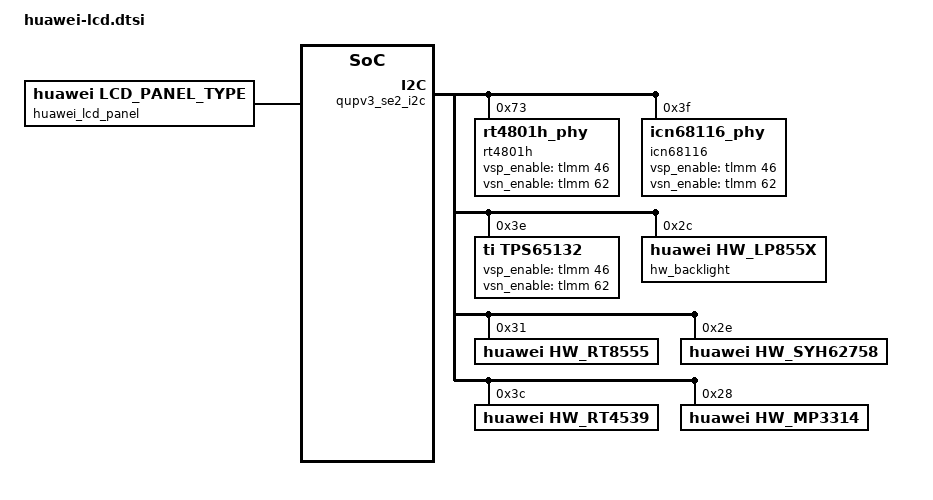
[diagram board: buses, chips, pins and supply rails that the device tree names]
#include "../../../lcdkit3.0/bah4/devkit_lcd_kit.dtsi"
&huawei_lcd_panel {
	compatible = "huawei,lcd_panel_type";
	/* auto_key_info @ name: product_id type: uint32 default: 0 */
	product_id = <9000>;
	detect_type = <2>;
	/* auto_key_info @ name: gpio_id[2] type: int default: 0 */
	gpio_id = <14 6>;
	/* auto_key_info @ name: bias_ctrl_type type: uint32 default: 0 */
	bias_ctrl_type = <3>;
	/* auto_key_info @ name: vsp_gpio_id type: uint32 default: 0 */
	vsp_gpio_id = <46>;
	/* auto_key_info @ name: vsn_gpio_id type: uint32 default: 0 */
	vsn_gpio_id = <62>;
	/* auto_key_info @ name: tp_reset_gpio type: uint32 default: 0 */
	tp_reset_gpio = <105>;
	/* auto_key_info @ name: bl_en_gpio type: uint32 default: 0 */
	bl_en_gpio = <11>;
	support_lcd_type = "LCD_KIT";
};

&sde_dsi {
	vddio-supply = <&L12C>;
	vdd-supply = <&L13C>;
	ddic-supply = <&L16B>;
	qcom,dsi-default-panel = <&dsi_bah4_auo_otm1901a_5p2_1080p_video_default>;
};

&qupv3_se2_i2c {
	status = "ok";

	rt4801h@73 {
		compatible = "rt4801h_phy";
		reg = <0x73>;
		gpio_vsp_enable = <&tlmm 46 0x00>;
		gpio_vsn_enable = <&tlmm 62 0x00>;
	};

	icn68116@3f {
		compatible = "icn68116_phy";
		reg = <0x3f>;
		gpio_vsp_enable = <&tlmm 46 0x00>;
		gpio_vsn_enable = <&tlmm 62 0x00>;
	};

	tps65132@3e {
		compatible = "ti,tps65132";
		reg = <0x3e>;
		gpio_vsp_enable = <&tlmm 46 0x00>;
		gpio_vsn_enable = <&tlmm 62 0x00>;
	};

	hw_backlight@2c {
		status = "ok";
		compatible = "huawei,hw_lp855x";
		reg = <0x2c>;
		bl_type_string = "8556";

		hw_lp855x,hw_enable = <1>;
		hw_lp855x,hw_en_gpio = <11>;
		hw_lp855x,gpio_offset = <336>;
		hw_lp855x,before_bl_on_mdelay = <45>;
		hw_lp855x,bl_on_mdelay = <10>;
		hw_lp855x,hw_en_pull_low = <1>;
		hw_lp855x,backlight_ic_only_backlight = <1>;
		hw_lp855x,backlight_ic_backlight_level = <3932>;
		hw_lp855x,backlight_ic_kernel_ctrl_mode = <0>;
		hw_lp855x,backlight_ic_level_10000 = <0>;
		hw_lp855x,backlight_ic_bits_compatible = <1>;
		hw_lp855x,backlight_ic_level_lsb_cmd = <0x08 0x10 0x00 0xff>;
		hw_lp855x,backlight_ic_level_msb_cmd = <0x04 0x11 0x00 0x0f>;
		hw_lp855x,backlight_ic_pull_boost_support = <0>;
		hw_lp855x,backlight_ic_pull_boost_delay = <0>;
		hw_lp855x,backlight_ic_pull_down_vsp_cmd = <0x01 0x0d 0x00 0xff 0x00>;
		hw_lp855x,backlight_ic_pull_down_vsn_cmd = <0x01 0x0e 0x00 0xff 0x00>;
		hw_lp855x,backlight_ic_pull_down_boost_cmd = <0x01 0x0c 0x14 0xff 0x00>;
		hw_lp855x,backlight_ic_fault_check_support = <0>;
		hw_lp855x,backlight_ic_ocp_flag_cmd = <0x00 0x02 0x04 0x14 0x00>;
		hw_lp855x,backlight_ic_kernel_init_cmd = <0x01 0x01 0x85 0xff 0x00
						0x01 0xa0 0xff 0xff 0x00
						0x01 0xa1 0xcf 0xff 0x00
						0x01 0xa2 0x28 0xff 0x00
						0x01 0xa3 0x52 0xff 0x00
						0x01 0xa4 0x12 0xff 0x00
						0x01 0xa5 0x00 0xff 0x00
						0x01 0xa6 0x40 0xff 0x00
						0x01 0xa7 0xf7 0xff 0x00
						0x01 0xa9 0x80 0xff 0x00
						0x01 0xaa 0x0f 0xff 0x00
						0x01 0xae 0x0e 0xff 0x00
						0x01 0x9e 0x22 0xff 0x00>;
		hw_lp855x,backlight_ic_num_of_kernel_init_cmd = <13>;
		hw_lp855x,backlight_ic_init_vsp_index = <14>;
		hw_lp855x,backlight_ic_init_vsn_index = <15>;
	};

	hw_rt8555@31 {
		status = "ok";
		compatible = "huawei,hw_rt8555";
		reg = <0x31>;
		bl_type_string = "8555";

		hw_rt8555,hw_enable = <1>;
		hw_rt8555,hw_en_gpio = <11>;
		hw_rt8555,gpio_offset = <336>;
		hw_rt8555,before_bl_on_mdelay = <45>;
		hw_rt8555,bl_on_mdelay = <10>;
		hw_rt8555,hw_en_pull_low = <1>;
		hw_rt8555,backlight_ic_only_backlight = <1>;
		hw_rt8555,backlight_ic_backlight_level = <910>;
		hw_rt8555,backlight_ic_kernel_ctrl_mode = <0>;
		hw_rt8555,backlight_ic_level_10000 = <0>;
		hw_rt8555,backlight_ic_bits_compatible = <1>;
		hw_rt8555,backlight_ic_level_lsb_cmd = <0x08 0x04 0x00 0xff>;
		hw_rt8555,backlight_ic_level_msb_cmd = <0x02 0x05 0x00 0x03>;
		hw_rt8555,dimming_support = <1>;
		hw_rt8555,dimming_config_reg = <0x08>;
		hw_rt8555,dimming_config = <0x70>;
		hw_rt8555,backlight_ic_pull_boost_support = <0>;
		hw_rt8555,backlight_ic_pull_boost_delay = <0>;
		hw_rt8555,backlight_ic_pull_down_vsp_cmd = <0x01 0x0d 0x00 0xff 0x00>;
		hw_rt8555,backlight_ic_pull_down_vsn_cmd = <0x01 0x0e 0x00 0xff 0x00>;
		hw_rt8555,backlight_ic_pull_down_boost_cmd = <0x01 0x0c 0x14 0xff 0x00>;
		hw_rt8555,backlight_ic_fault_check_support = <0>;
		hw_rt8555,backlight_ic_ovp_flag_cmd = <0x00 0x0f 0x02 0x02 0x00>;
		hw_rt8555,backlight_ic_ocp_flag_cmd = <0x00 0x0f 0x01 0x01 0x00>;
		hw_rt8555,backlight_ic_tsd_flag_cmd = <0x00 0x0f 0x40 0x40 0x00>;
		hw_rt8555,backlight_ic_kernel_init_cmd = <0x01 0x00 0xC3 0xff 0x00
						0x01 0x01 0xD3 0xff 0x00
						0x01 0x02 0xA8 0xff 0x00
						0x01 0x03 0x00 0xff 0x00
						0x01 0x08 0x10 0xff 0x00
						0x01 0x09 0x7F 0xff 0x00
						0x01 0x0a 0x04 0xff 0x00
						0x01 0x0b 0x00 0xff 0x00
						0x01 0x0d 0x00 0xff 0x00
						0x01 0x0e 0x00 0xff 0x00
						0x01 0x50 0x01 0xff 0x00>;
		hw_rt8555,backlight_ic_num_of_kernel_init_cmd = <11>;
		hw_rt8555,backlight_ic_init_vsp_index = <14>;
		hw_rt8555,backlight_ic_init_vsn_index = <15>;
	};

	hw_syh62758@2e {
		status = "ok";
		compatible = "huawei,hw_syh62758";
		reg = <0x2e>;
		bl_type_string = "62758";

		hw_syh62758,hw_enable = <1>;
		hw_syh62758,hw_en_gpio = <11>;
		hw_syh62758,gpio_offset = <336>;
		hw_syh62758,before_bl_on_mdelay = <45>;
		hw_syh62758,bl_on_mdelay = <10>;
		hw_syh62758,hw_en_pull_low = <1>;
		hw_syh62758,backlight_ic_only_backlight = <1>;
		hw_syh62758,backlight_ic_backlight_level = <3932>;
		hw_syh62758,backlight_ic_kernel_ctrl_mode = <0>;
		hw_syh62758,backlight_ic_level_10000 = <0>;
		hw_syh62758,backlight_ic_bits_compatible = <1>;
		hw_syh62758,backlight_ic_level_lsb_cmd = <0x08 0x10 0x00 0xff>;
		hw_syh62758,backlight_ic_level_msb_cmd = <0x04 0x11 0x00 0x0f>;
		hw_syh62758,backlight_ic_pull_boost_support = <0>;
		hw_syh62758,backlight_ic_pull_boost_delay = <0>;
		hw_syh62758,backlight_ic_pull_down_vsp_cmd = <0x01 0x0d 0x00 0xff 0x00>;
		hw_syh62758,backlight_ic_pull_down_vsn_cmd = <0x01 0x0e 0x00 0xff 0x00>;
		hw_syh62758,backlight_ic_pull_down_boost_cmd = <0x01 0x0c 0x14 0xff 0x00>;
		hw_syh62758,backlight_ic_fault_check_support = <0>;
		hw_syh62758,backlight_ic_ovp_flag_cmd = <0x00 0x0f 0x02 0x02 0x00>;
		hw_syh62758,backlight_ic_ocp_flag_cmd = <0x00 0x0f 0x01 0x01 0x00>;
		hw_syh62758,backlight_ic_tsd_flag_cmd = <0x00 0x0f 0x40 0x40 0x00>;
		hw_syh62758,backlight_ic_kernel_init_cmd = <0x01 0x01 0x85 0xff 0x00
						0x01 0xa2 0x20 0xff 0x00
						0x01 0xa0 0xff 0xff 0x00
						0x01 0xa1 0xcf 0xff 0x00
						0x01 0xa3 0x52 0xff 0x00
						0x01 0xa4 0x02 0xff 0x00
						0x01 0xa5 0x00 0xff 0x00
						0x01 0xa6 0x40 0xff 0x00
						0x01 0xa7 0xf7 0xff 0x00
						0x01 0xa9 0x80 0xff 0x00
						0x01 0xaa 0x0f 0xff 0x00
						0x01 0xae 0x0e 0xff 0x00
						0x01 0x9e 0x22 0xff 0x00
						0x01 0x16 0x3f 0xff 0x00
						0x01 0x01 0x84 0xff 0x00>;
		hw_syh62758,backlight_ic_num_of_kernel_init_cmd = <15>;
		hw_syh62758,backlight_ic_init_vsp_index = <14>;
		hw_syh62758,backlight_ic_init_vsn_index = <15>;
	};

	hw_rt4539@3c {
		status = "ok";
		compatible = "huawei,hw_rt4539";
		reg = <0x3c>;
		bl_type_string = "4539";

		hw_rt4539,hw_enable = <1>;
		hw_rt4539,hw_en_gpio = <11>;
		hw_rt4539,gpio_offset = <336>;
		hw_rt4539,before_bl_on_mdelay = <45>;
		hw_rt4539,bl_on_mdelay = <10>;
		hw_rt4539,hw_en_pull_low = <1>;
		hw_rt4539,backlight_ic_only_backlight = <1>;
		hw_rt4539,backlight_ic_backlight_level = <3932>;
		hw_rt4539,backlight_ic_kernel_ctrl_mode = <0>;
		hw_rt4539,backlight_ic_level_10000 = <0>;
		hw_rt4539,backlight_ic_bits_compatible = <1>;
		hw_rt4539,backlight_ic_level_lsb_cmd = <0x08 0x05 0x00 0xff>;
		hw_rt4539,backlight_ic_level_msb_cmd = <0x04 0x04 0x00 0x0f>;
		hw_rt4539,backlight_ic_set_msb_before_lsb = <1>;
		hw_rt4539,dimming_support = <0>;
		hw_rt4539,dimming_config_reg = <0x08>;
		hw_rt4539,dimming_config = <0x70>;
		hw_rt4539,backlight_ic_pull_boost_support = <0>;
		hw_rt4539,backlight_ic_pull_boost_delay = <0>;
		hw_rt4539,backlight_ic_pull_down_vsp_cmd = <0x01 0x0d 0x00 0xff 0x00>;
		hw_rt4539,backlight_ic_pull_down_vsn_cmd = <0x01 0x0e 0x00 0xff 0x00>;
		hw_rt4539,backlight_ic_pull_down_boost_cmd = <0x01 0x0c 0x14 0xff 0x00>;
		hw_rt4539,backlight_ic_fault_check_support = <0>;
		hw_rt4539,backlight_ic_ovp_flag_cmd = <0x00 0x0f 0x02 0x02 0x00>;
		hw_rt4539,backlight_ic_ocp_flag_cmd = <0x00 0x0f 0x01 0x01 0x00>;
		hw_rt4539,backlight_ic_tsd_flag_cmd = <0x00 0x0f 0x40 0x40 0x00>;
		hw_rt4539,backlight_ic_kernel_init_cmd = <0x01 0x00 0x24 0xff 0x00
						0x01 0x01 0x18 0xff 0x00
						0x01 0x02 0x9B 0xff 0x00
						0x01 0x03 0x24 0xff 0x00
						0x01 0x06 0x98 0xff 0x00
						0x01 0x07 0x01 0xff 0x00
						0x01 0x08 0x02 0xff 0x00
						0x01 0x09 0x78 0xff 0x00
						0x01 0x0a 0x0F 0xff 0x00
						0x01 0x0b 0xFE 0xff 0x00
						0x01 0xff 0x00 0xff 0x00>;
		hw_rt4539,backlight_ic_num_of_kernel_init_cmd = <11>;
		hw_rt4539,backlight_ic_init_vsp_index = <14>;
		hw_rt4539,backlight_ic_init_vsn_index = <15>;
	};

	hw_mp3314@28 {
		status = "ok";
		compatible = "huawei,hw_mp3314";
		reg = <0x28>;
		bl_type_string = "3314";

		hw_mp3314,hw_enable = <1>;
		hw_mp3314,hw_en_gpio = <11>;
		hw_mp3314,gpio_offset = <336>;
		hw_mp3314,before_bl_on_mdelay = <45>;
		hw_mp3314,bl_on_mdelay = <10>;
		hw_mp3314,hw_en_pull_low = <1>;
		hw_mp3314,backlight_ic_only_backlight = <1>;
		hw_mp3314,backlight_ic_backlight_level = <62914>;
		hw_mp3314,backlight_ic_kernel_ctrl_mode = <0>;
		hw_mp3314,backlight_ic_level_10000 = <0>;
		hw_mp3314,backlight_ic_bits_compatible = <1>;
		hw_mp3314,backlight_ic_set_msb_before_lsb = <1>;
		hw_mp3314,backlight_ic_level_lsb_cmd = <0x08 0x01 0x00 0xff>;
		hw_mp3314,backlight_ic_level_msb_cmd = <0x08 0x00 0x00 0xff>;
		hw_mp3314,backlight_ic_pull_boost_support = <0>;
		hw_mp3314,backlight_ic_pull_boost_delay = <0>;
		hw_mp3314,backlight_ic_pull_down_vsp_cmd = <0x01 0x0d 0x00 0xff 0x00>;
		hw_mp3314,backlight_ic_pull_down_vsn_cmd = <0x01 0x0e 0x00 0xff 0x00>;
		hw_mp3314,backlight_ic_pull_down_boost_cmd = <0x01 0x0c 0x14 0xff 0x00>;
		hw_mp3314,backlight_ic_fault_check_support = <0>;
		hw_mp3314,backlight_ic_ovp_flag_cmd = <0x00 0x0f 0x02 0x02 0x00>;
		hw_mp3314,backlight_ic_ocp_flag_cmd = <0x00 0x0f 0x01 0x01 0x00>;
		hw_mp3314,backlight_ic_tsd_flag_cmd = <0x00 0x0f 0x40 0x40 0x00>;
		hw_mp3314,backlight_ic_kernel_init_cmd = <0x01 0x02 0x9a 0xff 0x00
						0x01 0x00 0x00 0xff 0x00
						0x01 0x01 0x00 0xff 0x00
						0x01 0x03 0x7f 0xff 0x00
						0x01 0x04 0xa0 0xff 0x00
						0x01 0x05 0x00 0xff 0x00
						0x01 0x06 0xff 0xff 0x00
						0x01 0x07 0x4f 0xff 0x00
						0x01 0x08 0xa0 0xff 0x00
						0x01 0x09 0xd2 0xff 0x00
						0x01 0x0a 0x90 0xff 0x00
						0x01 0x0b 0x67 0xff 0x00
						0x01 0x0c 0x00 0xff 0x00
						0x01 0x0d 0x00 0xff 0x00
						0x01 0x0e 0x00 0xff 0x00
						0x01 0x0f 0x2f 0xff 0x00
						0x01 0x10 0xc0 0xff 0x00
						0x01 0x11 0x00 0xff 0x00
						0x01 0x1d 0x11 0xff 0x00
						0x01 0x02 0x9B 0xff 0x00>;
		hw_mp3314,backlight_ic_num_of_kernel_init_cmd = <20>;
		hw_mp3314,backlight_ic_init_vsp_index = <14>;
		hw_mp3314,backlight_ic_init_vsn_index = <15>;
	};
};
